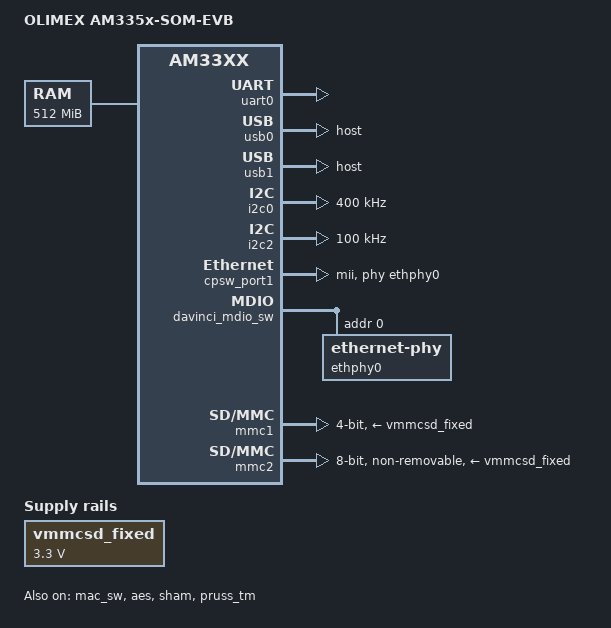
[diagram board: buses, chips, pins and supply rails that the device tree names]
// SPDX-License-Identifier: GPL-2.0-only
/*
 * Copyright (C) 2012 Texas Instruments Incorporated - https://www.ti.com/
 */
/dts-v1/;

#include "am33xx.dtsi"
//#include "am335x-boneblack-hdmi.dtsi"

/ {
	model = "OLIMEX AM335x-SOM-EVB";
	compatible = "olimex,am335x-som-evb", "ti,am33xx";
};

//#include "am335x-bone-common.dtsi"

/ {
//	cpus {
//		cpu@0 {
//			cpu0-supply = <&dcdc2_reg>;
//		};
//	};

	memory@80000000 {
		device_type = "memory";
		reg = <0x80000000 0x20000000>; /* 512 MB */
	};

	chosen {
		stdout-path = &uart0;
	};

//	leds {
//		pinctrl-names = "default";
//		pinctrl-0 = <&user_leds_s0>;
//
//		compatible = "gpio-leds";
//
//		led2 {
//			label = "beaglebone:green:heartbeat";
//			gpios = <&gpio1 21 GPIO_ACTIVE_HIGH>;
//			linux,default-trigger = "heartbeat";
//			default-state = "off";
//		};
//
//		led3 {
//			label = "beaglebone:green:mmc0";
//			gpios = <&gpio1 22 GPIO_ACTIVE_HIGH>;
//			linux,default-trigger = "mmc0";
//			default-state = "off";
//		};
//
//		led4 {
//			label = "beaglebone:green:usr2";
//			gpios = <&gpio1 23 GPIO_ACTIVE_HIGH>;
//			linux,default-trigger = "cpu0";
//			default-state = "off";
//		};
//
//		led5 {
//			label = "beaglebone:green:usr3";
//			gpios = <&gpio1 24 GPIO_ACTIVE_HIGH>;
//			linux,default-trigger = "mmc1";
//			default-state = "off";
//		};
//	};

	vmmcsd_fixed: fixedregulator0 {
		compatible = "regulator-fixed";
		regulator-name = "vmmcsd_fixed";
		regulator-min-microvolt = <3300000>;
		regulator-max-microvolt = <3300000>;
	};
};

&am33xx_pinmux {
	pinctrl-names = "default";
	pinctrl-0 = <&clkout2_pin>;

//	user_leds_s0: user-leds-s0-pins {
//		pinctrl-single,pins = <
//			AM33XX_PADCONF(AM335X_PIN_GPMC_A5, PIN_OUTPUT_PULLDOWN, MUX_MODE7)	/* gpmc_a5.gpio1_21 */
//			AM33XX_PADCONF(AM335X_PIN_GPMC_A6, PIN_OUTPUT_PULLUP, MUX_MODE7)	/* gpmc_a6.gpio1_22 */
//			AM33XX_PADCONF(AM335X_PIN_GPMC_A7, PIN_OUTPUT_PULLDOWN, MUX_MODE7)	/* gpmc_a7.gpio1_23 */
//			AM33XX_PADCONF(AM335X_PIN_GPMC_A8, PIN_OUTPUT_PULLUP, MUX_MODE7)	/* gpmc_a8.gpio1_24 */
//		>;
//	};

	i2c0_pins: i2c0-pins {
		pinctrl-single,pins = <
			AM33XX_PADCONF(AM335X_PIN_I2C0_SDA, PIN_INPUT_PULLUP, MUX_MODE0)	/* i2c0_sda.i2c0_sda */
			AM33XX_PADCONF(AM335X_PIN_I2C0_SCL, PIN_INPUT_PULLUP, MUX_MODE0)	/* i2c0_scl.i2c0_scl */
		>;
	};

	i2c2_pins: i2c2-pins {
		pinctrl-single,pins = <
			AM33XX_PADCONF(AM335X_PIN_UART1_CTSN, PIN_INPUT_PULLUP, MUX_MODE3)	/* uart1_ctsn.i2c2_sda */
			AM33XX_PADCONF(AM335X_PIN_UART1_RTSN, PIN_INPUT_PULLUP, MUX_MODE3)	/* uart1_rtsn.i2c2_scl */
		>;
	};

	uart0_pins: uart0-pins {
		pinctrl-single,pins = <
			AM33XX_PADCONF(AM335X_PIN_UART0_RXD, PIN_INPUT_PULLUP, MUX_MODE0)
			AM33XX_PADCONF(AM335X_PIN_UART0_TXD, PIN_OUTPUT_PULLDOWN, MUX_MODE0)
		>;
	};

	clkout2_pin: clkout2-pins {
		pinctrl-single,pins = <
			AM33XX_PADCONF(AM335X_PIN_XDMA_EVENT_INTR1, PIN_OUTPUT_PULLDOWN, MUX_MODE3)	/* xdma_event_intr1.clkout2 */
		>;
	};

	cpsw_default: cpsw-default-pins {
		pinctrl-single,pins = <
			/* Slave 1 */
			AM33XX_PADCONF(AM335X_PIN_MII1_RX_ER, PIN_INPUT_PULLUP, MUX_MODE0)
			AM33XX_PADCONF(AM335X_PIN_MII1_TX_EN, PIN_OUTPUT_PULLDOWN, MUX_MODE0)
			AM33XX_PADCONF(AM335X_PIN_MII1_RX_DV, PIN_INPUT_PULLUP, MUX_MODE0)
			AM33XX_PADCONF(AM335X_PIN_MII1_TXD3, PIN_OUTPUT_PULLDOWN, MUX_MODE0)
			AM33XX_PADCONF(AM335X_PIN_MII1_TXD2, PIN_OUTPUT_PULLDOWN, MUX_MODE0)
			AM33XX_PADCONF(AM335X_PIN_MII1_TXD1, PIN_OUTPUT_PULLDOWN, MUX_MODE0)
			AM33XX_PADCONF(AM335X_PIN_MII1_TXD0, PIN_OUTPUT_PULLDOWN, MUX_MODE0)
			AM33XX_PADCONF(AM335X_PIN_MII1_TX_CLK, PIN_INPUT_PULLUP, MUX_MODE0)
			AM33XX_PADCONF(AM335X_PIN_MII1_RX_CLK, PIN_INPUT_PULLUP, MUX_MODE0)
			AM33XX_PADCONF(AM335X_PIN_MII1_RXD3, PIN_INPUT_PULLUP, MUX_MODE0)
			AM33XX_PADCONF(AM335X_PIN_MII1_RXD2, PIN_INPUT_PULLUP, MUX_MODE0)
			AM33XX_PADCONF(AM335X_PIN_MII1_RXD1, PIN_INPUT_PULLUP, MUX_MODE0)
			AM33XX_PADCONF(AM335X_PIN_MII1_RXD0, PIN_INPUT_PULLUP, MUX_MODE0)
		>;
	};

	cpsw_sleep: cpsw-sleep-pins {
		pinctrl-single,pins = <
			/* Slave 1 reset value */
			AM33XX_PADCONF(AM335X_PIN_MII1_RX_ER, PIN_INPUT_PULLDOWN, MUX_MODE7)
			AM33XX_PADCONF(AM335X_PIN_MII1_TX_EN, PIN_INPUT_PULLDOWN, MUX_MODE7)
			AM33XX_PADCONF(AM335X_PIN_MII1_RX_DV, PIN_INPUT_PULLDOWN, MUX_MODE7)
			AM33XX_PADCONF(AM335X_PIN_MII1_TXD3, PIN_INPUT_PULLDOWN, MUX_MODE7)
			AM33XX_PADCONF(AM335X_PIN_MII1_TXD2, PIN_INPUT_PULLDOWN, MUX_MODE7)
			AM33XX_PADCONF(AM335X_PIN_MII1_TXD1, PIN_INPUT_PULLDOWN, MUX_MODE7)
			AM33XX_PADCONF(AM335X_PIN_MII1_TXD0, PIN_INPUT_PULLDOWN, MUX_MODE7)
			AM33XX_PADCONF(AM335X_PIN_MII1_TX_CLK, PIN_INPUT_PULLDOWN, MUX_MODE7)
			AM33XX_PADCONF(AM335X_PIN_MII1_RX_CLK, PIN_INPUT_PULLDOWN, MUX_MODE7)
			AM33XX_PADCONF(AM335X_PIN_MII1_RXD3, PIN_INPUT_PULLDOWN, MUX_MODE7)
			AM33XX_PADCONF(AM335X_PIN_MII1_RXD2, PIN_INPUT_PULLDOWN, MUX_MODE7)
			AM33XX_PADCONF(AM335X_PIN_MII1_RXD1, PIN_INPUT_PULLDOWN, MUX_MODE7)
			AM33XX_PADCONF(AM335X_PIN_MII1_RXD0, PIN_INPUT_PULLDOWN, MUX_MODE7)
		>;
	};

	davinci_mdio_default: davinci-mdio-default-pins {
		pinctrl-single,pins = <
			/* MDIO */
			AM33XX_PADCONF(AM335X_PIN_MDIO, PIN_INPUT_PULLUP | SLEWCTRL_FAST, MUX_MODE0)
			AM33XX_PADCONF(AM335X_PIN_MDC, PIN_OUTPUT_PULLUP, MUX_MODE0)
			/* Added to support GPIO controlled PHY reset */
			AM33XX_PADCONF(AM335X_PIN_UART0_CTSN, PIN_OUTPUT_PULLUP, MUX_MODE7)
		>;
	};

	davinci_mdio_sleep: davinci-mdio-sleep-pins {
		pinctrl-single,pins = <
			/* MDIO reset value */
			AM33XX_PADCONF(AM335X_PIN_MDIO, PIN_INPUT_PULLDOWN, MUX_MODE7)
			AM33XX_PADCONF(AM335X_PIN_MDC, PIN_INPUT_PULLDOWN, MUX_MODE7)
			/* Added to support GPIO controlled PHY reset */
			AM33XX_PADCONF(AM335X_PIN_UART0_CTSN, PIN_INPUT_PULLDOWN, MUX_MODE7)
		>;
	};

	mmc1_pins: mmc1-pins {
		pinctrl-single,pins = <
			AM33XX_PADCONF(AM335X_PIN_SPI0_CS1, PIN_INPUT, MUX_MODE7)		/* spio0_cs1.gpio0_6 */
			AM33XX_PADCONF(AM335X_PIN_MMC0_DAT0, PIN_INPUT_PULLUP, MUX_MODE0)
			AM33XX_PADCONF(AM335X_PIN_MMC0_DAT1, PIN_INPUT_PULLUP, MUX_MODE0)
			AM33XX_PADCONF(AM335X_PIN_MMC0_DAT2, PIN_INPUT_PULLUP, MUX_MODE0)
			AM33XX_PADCONF(AM335X_PIN_MMC0_DAT3, PIN_INPUT_PULLUP, MUX_MODE0)
			AM33XX_PADCONF(AM335X_PIN_MMC0_CMD, PIN_INPUT_PULLUP, MUX_MODE0)
			AM33XX_PADCONF(AM335X_PIN_MMC0_CLK, PIN_INPUT_PULLUP, MUX_MODE0)
		>;
	};

	emmc_pins: emmc-pins {
		pinctrl-single,pins = <
			AM33XX_PADCONF(AM335X_PIN_GPMC_CSN1, PIN_INPUT_PULLUP, MUX_MODE2) /* gpmc_csn1.mmc1_clk */
			AM33XX_PADCONF(AM335X_PIN_GPMC_CSN2, PIN_INPUT_PULLUP, MUX_MODE2) /* gpmc_csn2.mmc1_cmd */
			AM33XX_PADCONF(AM335X_PIN_GPMC_AD0, PIN_INPUT_PULLUP, MUX_MODE1) /* gpmc_ad0.mmc1_dat0 */
			AM33XX_PADCONF(AM335X_PIN_GPMC_AD1, PIN_INPUT_PULLUP, MUX_MODE1) /* gpmc_ad1.mmc1_dat1 */
			AM33XX_PADCONF(AM335X_PIN_GPMC_AD2, PIN_INPUT_PULLUP, MUX_MODE1) /* gpmc_ad2.mmc1_dat2 */
			AM33XX_PADCONF(AM335X_PIN_GPMC_AD3, PIN_INPUT_PULLUP, MUX_MODE1) /* gpmc_ad3.mmc1_dat3 */
			AM33XX_PADCONF(AM335X_PIN_GPMC_AD4, PIN_INPUT_PULLUP, MUX_MODE1) /* gpmc_ad4.mmc1_dat4 */
			AM33XX_PADCONF(AM335X_PIN_GPMC_AD5, PIN_INPUT_PULLUP, MUX_MODE1) /* gpmc_ad5.mmc1_dat5 */
			AM33XX_PADCONF(AM335X_PIN_GPMC_AD6, PIN_INPUT_PULLUP, MUX_MODE1) /* gpmc_ad6.mmc1_dat6 */
			AM33XX_PADCONF(AM335X_PIN_GPMC_AD7, PIN_INPUT_PULLUP, MUX_MODE1) /* gpmc_ad7.mmc1_dat7 */
		>;
	};
};

&uart0 {
	pinctrl-names = "default";
	pinctrl-0 = <&uart0_pins>;

	status = "okay";
};

&usb0 {
	dr_mode = "host";
};

&usb1 {
	dr_mode = "host";
};

&i2c0 {
	pinctrl-names = "default";
	pinctrl-0 = <&i2c0_pins>;

	status = "okay";
	clock-frequency = <400000>;
};

&i2c2 {
	pinctrl-names = "default";
	pinctrl-0 = <&i2c2_pins>;

	status = "okay";
	clock-frequency = <100000>;
};


&cpsw_port1 {
	phy-handle = <&ethphy0>;
	phy-mode = "mii";
	ti,dual-emac-pvid = <1>;
};

&cpsw_port2 {
	status = "disabled";
};

&mac_sw {
	pinctrl-names = "default", "sleep";
	pinctrl-0 = <&cpsw_default>;
	pinctrl-1 = <&cpsw_sleep>;
	status = "okay";
};

&davinci_mdio_sw {
	pinctrl-names = "default", "sleep";
	pinctrl-0 = <&davinci_mdio_default>;
	pinctrl-1 = <&davinci_mdio_sleep>;

	ethphy0: ethernet-phy@0 {
		reg = <0>;
//		/* Support GPIO reset on revision C3 boards */
//		reset-gpios = <&gpio1 8 GPIO_ACTIVE_LOW>;
//		reset-assert-us = <300>;
//		reset-deassert-us = <6500>;
	};
};

&mmc1 {
	status = "okay";
	bus-width = <0x4>;
	pinctrl-names = "default";
	pinctrl-0 = <&mmc1_pins>;
//	cd-gpios = <&gpio0 6 GPIO_ACTIVE_LOW>;
};

&aes {
	status = "okay";
};

&sham {
	status = "okay";
};

&rtc {
	clocks = <&clk_32768_ck>, <&clk_24mhz_clkctrl AM3_CLK_24MHZ_CLKDIV32K_CLKCTRL 0>;
	clock-names = "ext-clk", "int-clk";
	system-power-controller;
};

&pruss_tm {
	status = "okay";
};

&wkup_m3_ipc {
	firmware-name = "am335x-bone-scale-data.bin";
};

//#include "am335x-boneblack-common.dtsi"

&mmc1 {
	vmmc-supply = <&vmmcsd_fixed>;
};

&mmc2 {
	vmmc-supply = <&vmmcsd_fixed>;
	pinctrl-names = "default";
	pinctrl-0 = <&emmc_pins>;
	bus-width = <8>;
	status = "okay";
	non-removable;
};

&gpio0 {
	gpio-line-names =
		"[mdio_data]",
		"[mdio_clk]",
		"P9_22 [spi0_sclk]",
		"P9_21 [spi0_d0]",
		"P9_18 [spi0_d1]",
		"P9_17 [spi0_cs0]",
		"[mmc0_cd]",
		"P8_42A [ecappwm0]",
		"P8_35 [lcd d12]",
		"P8_33 [lcd d13]",
		"P8_31 [lcd d14]",
		"P8_32 [lcd d15]",
		"P9_20 [i2c2_sda]",
		"P9_19 [i2c2_scl]",
		"P9_26 [uart1_rxd]",
		"P9_24 [uart1_txd]",
		"[rmii1_txd3]",
		"[rmii1_txd2]",
		"[usb0_drvvbus]",
		"[hdmi cec]",
		"P9_41B",
		"[rmii1_txd1]",
		"P8_19 [ehrpwm2a]",
		"P8_13 [ehrpwm2b]",
		"NC",
		"NC",
		"P8_14",
		"P8_17",
		"[rmii1_txd0]",
		"[rmii1_refclk]",
		"P9_11 [uart4_rxd]",
		"P9_13 [uart4_txd]";
};

&gpio1 {
	gpio-line-names =
		"P8_25 [mmc1_dat0]",
		"[mmc1_dat1]",
		"P8_5 [mmc1_dat2]",
		"P8_6 [mmc1_dat3]",
		"P8_23 [mmc1_dat4]",
		"P8_22 [mmc1_dat5]",
		"P8_3 [mmc1_dat6]",
		"P8_4 [mmc1_dat7]",
		"NC",
		"NC",
		"NC",
		"NC",
		"P8_12",
		"P8_11",
		"P8_16",
		"P8_15",
		"P9_15A",
		"P9_23",
		"P9_14 [ehrpwm1a]",
		"P9_16 [ehrpwm1b]",
		"[emmc rst]",
		"[usr0 led]",
		"[usr1 led]",
		"[usr2 led]",
		"[usr3 led]",
		"[hdmi irq]",
		"[usb vbus oc]",
		"[hdmi audio]",
		"P9_12",
		"P8_26",
		"P8_21 [emmc]",
		"P8_20 [emmc]";
};

&gpio2 {
	gpio-line-names =
		"P9_15B",
		"P8_18",
		"P8_7",
		"P8_8",
		"P8_10",
		"P8_9",
		"P8_45 [hdmi]",
		"P8_46 [hdmi]",
		"P8_43 [hdmi]",
		"P8_44 [hdmi]",
		"P8_41 [hdmi]",
		"P8_42 [hdmi]",
		"P8_39 [hdmi]",
		"P8_40 [hdmi]",
		"P8_37 [hdmi]",
		"P8_38 [hdmi]",
		"P8_36 [hdmi]",
		"P8_34 [hdmi]",
		"[rmii1_rxd3]",
		"[rmii1_rxd2]",
		"[rmii1_rxd1]",
		"[rmii1_rxd0]",
		"P8_27 [hdmi]",
		"P8_29 [hdmi]",
		"P8_28 [hdmi]",
		"P8_30 [hdmi]",
		"[mmc0_dat3]",
		"[mmc0_dat2]",
		"[mmc0_dat1]",
		"[mmc0_dat0]",
		"[mmc0_clk]",
		"[mmc0_cmd]";
};

&gpio3 {
	gpio-line-names =
		"[mii col]",
		"[mii crs]",
		"[mii rx err]",
		"[mii tx en]",
		"[mii rx dv]",
		"[i2c0 sda]",
		"[i2c0 scl]",
		"[jtag emu0]",
		"[jtag emu1]",
		"[mii tx clk]",
		"[mii rx clk]",
		"NC",
		"NC",
		"[usb vbus en]",
		"P9_31 [spi1_sclk]",
		"P9_29 [spi1_d0]",
		"P9_30 [spi1_d1]",
		"P9_28 [spi1_cs0]",
		"P9_42B [ecappwm0]",
		"P9_27",
		"P9_41A",
		"P9_25",
		"NC",
		"NC",
		"NC",
		"NC",
		"NC",
		"NC",
		"NC",
		"NC",
		"NC",
		"NC";
};

